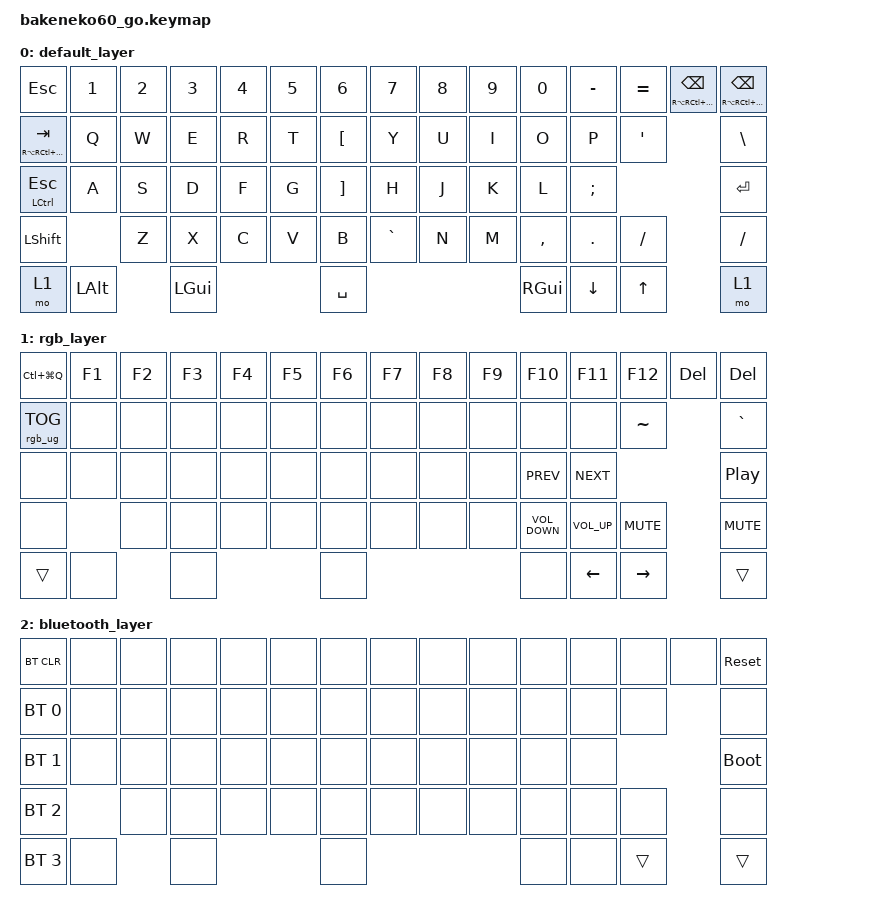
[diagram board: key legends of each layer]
/*
 * Copyright (c) 2023 Andrew Kannan
 *
 * SPDX-License-Identifier: MIT
 */

#include <behaviors.dtsi>
#include <dt-bindings/zmk/bt.h>
#include <dt-bindings/zmk/keys.h>
#include <dt-bindings/zmk/rgb.h>

/ {
    keymap {
        compatible = "zmk,keymap";

        default_layer {
            // ------------------------------------------------------------------------------------------
            // | ESC |  1  |  2  |  3  |  4  |  5  |  6  |  7  |  8  |  9  |  0  |  -  |  =  | BKSP|BKSP|
            // | TAB  |  Q  |  W  |  E  |  R  |  T  |  Y  |  U  |  I  |  O  |  P  |  [  |  ]  |   "|"   |
            // | CAPS  |  A  |  S  |  D  |  F  |  G  |  H  |  J  |  K  |  L  |  ;  |  '  |     ENTER    |
            // |  SHIFT  |  Z  |  X  |  C  |  V  |  B  |  N  |  M  |  ,  |  .  |  /  |  SHIFT  | MO(1)  |
            // |  CTL  |  WIN  |  ALT  |            SPACE              |  ALT  |  WIN  |  MO(1) |  CTL  |
            // ------------------------------------------------------------------------------------------

            bindings = <
&kp ESC                          &kp N1    &kp N2  &kp N3    &kp N4  &kp N5  &kp N6             &kp N7     &kp N8  &kp N9  &kp N0     &kp MINUS      &kp EQUAL         &mt RA(RC(RG(RSHIFT))) BSPC  &mt RA(RC(RG(RSHIFT))) BSPC
&mt RA(RC(RG(RIGHT_SHIFT))) TAB  &kp Q     &kp W   &kp E     &kp R   &kp T   &kp LEFT_BRACKET   &kp Y      &kp U   &kp I   &kp O      &kp P          &kp SINGLE_QUOTE                               &kp BSLH
&mt LCTRL ESC                    &kp A     &kp S   &kp D     &kp F   &kp G   &kp RIGHT_BRACKET  &kp H      &kp J   &kp K   &kp L      &kp SEMICOLON                                                 &kp RET
&kp LSHFT                                  &kp Z   &kp X     &kp C   &kp V   &kp B              &kp GRAVE  &kp N   &kp M   &kp COMMA  &kp PERIOD     &kp SLASH                                      &kp SLASH
&mo 1                            &kp LALT          &kp LGUI                  &kp SPACE                                     &kp RGUI   &kp DOWN       &kp UP                                         &mo 1
            >;
        };

        rgb_layer {
            // ------------------------------------------------------------------------------------------------
            // |    `   | F1  | F2  | F3  | F4  | F5  | F6  | F7  | F8  | F9  | F10  | F11 | F12 |     | DEL  |
            // | EFCT REV|   |  UP |   | HUEUP | SATUP | BRIUP | SPDUP |      |  PGUP |    |     |    |       |
            // | EFCT FWD | LT |  DN  | RT | HUEDN | SATDN | BRIDN | SPDDN | HOME | PGDN | END  |  | BOOTLDR  |
            // |             |     |      |      |     |     |     |     |     |     |     |         |        |
            // |         |      |      |             TOG RGB                | PRT SCR |       |       |  MO(2)|
            // ------------------------------------------------------------------------------------------------

            bindings = <
&kp LC(LG(Q))    &kp F1  &kp F2  &kp F3  &kp F4  &kp F5  &kp F6  &kp F7  &kp F8  &kp F9  &kp F10            &kp F11          &kp F12     &kp DEL  &kp DEL
&rgb_ug RGB_TOG  &none   &none   &none   &none   &none   &none   &none   &none   &none   &none              &none            &kp TILDE            &kp GRAVE
&none            &none   &none   &none   &none   &none   &none   &none   &none   &none   &kp C_PREV         &kp C_NEXT                            &kp C_PLAY_PAUSE
&none                    &none   &none   &none   &none   &none   &none   &none   &none   &kp K_VOLUME_DOWN  &kp K_VOLUME_UP  &kp K_MUTE           &kp K_MUTE
&trans           &none           &none                   &none                           &none              &kp LEFT         &kp RIGHT            &trans
            >;
        };

        bluetooth_layer {
            // ------------------------------------------------------------------------------------------------
            // | BT CLR |     |     |     |     |     |     |     |     |     |     |    |    |       |       |
            // |  BT 1   |   |     |   |       |       |       |       |   |     |    |     |     |           |
            // |   BT 2   |    |      |    |       |       |       |       |      |      |      |  |   Reset  |
            // |    BT 3     |     |      |      |     |     |     |     |     |     |     |         |        |
            // |   BT 4  |      |      |                                    |         |       |       |       |
            // ------------------------------------------------------------------------------------------------

            bindings = <
&bt BT_CLR    &none  &none  &none  &none  &none  &none  &none  &none  &none  &none  &none  &none   &none  &sys_reset
&bt BT_SEL 0  &none  &none  &none  &none  &none  &none  &none  &none  &none  &none  &none  &none          &none
&bt BT_SEL 1  &none  &none  &none  &none  &none  &none  &none  &none  &none  &none  &none                 &bootloader
&bt BT_SEL 2         &none  &none  &none  &none  &none  &none  &none  &none  &none  &none  &none          &none
&bt BT_SEL 3  &none         &none                &none                       &none  &none  &trans         &trans
            >;
        };
    };

    combos {
        compatible = "zmk,combos";

        combo_bt {
            timeout-ms = <50>;
            key-positions = <61 62>;
            bindings = <&mo 2>;
        };
    };
};
